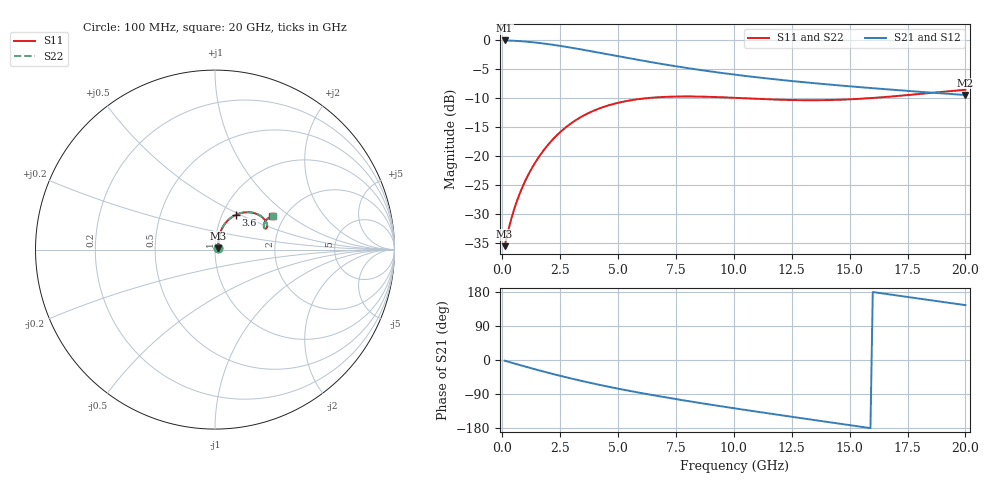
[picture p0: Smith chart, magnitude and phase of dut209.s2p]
! Touchstone file exported from HFSS 2024.1.0
!  File:  C:/UserFiles/LocalFiles/RDL_TSV_Batchsim/temp_RDL_TSV_209_1779446007.aedt
!  Generated:  06:54:19 PM May 22, 2026
!  Design:  RDL_TSV
!  Project:  temp_RDL_TSV_209_1779446007
!  Setup:  Setup1
!  Solution:  Sweep
! Variables:
!  dtsv = 6.86um
!  hbump = 3um
!  htsv = 79.52um
!  ldown = 319.67um
!  lrdl = 536.19um
!  p = 40
!  p1 = 50.9um
!  rhole = 10um
!  subl = 3103.77um
!  t = 450um
!  tdown = 3.28um
!  trdl = 4.96um
!  viad = 10um
!  wdown = 22.97um
!  wrdl = 16.33um
!  xbump = 18um
# GHz S MA R 50.000000
! Terminal data exported
! Port[1] = TM1_1_T1
! Port[2] = TM1_4_T1
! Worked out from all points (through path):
!   200 points, 100 MHz to 20 GHz, reference 50 ohm
!   highest |S21| = -0.14 dB at 100 MHz (marker M1); lowest = -9.5 dB at 20 GHz (marker M2)
!   group delay of S21, straight-line fit = 28.2 ps
!   lowest |S11| = -35.6 dB at 100 MHz (marker M3), VSWR 1.03, Z = 51.6 + j0.648 ohm
!   |S11| at or under -10 dB: start of sweep to 6.493 GHz; 9.89 GHz to 16.18 GHz (6.294 GHz wide, 48.3 % of centre)
!   |S22| runs from -35.6 to -8.6 dB; largest |S21 - S12| = 4.2e-14
!   S11 on the Smith chart (normalised r, x): 100 MHz: 1.03, +0.01; 3.6 GHz: 1.16, +0.47; 20 GHz: 1.74, +0.75
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0.1  0.01657 22.3  0.9845 -1.8  0.9845 -1.8  0.01657 22.3
! Gamma 0 0 0 0
! Port Impedance 50 0 50 0
0.4  0.02902 53.7  0.9801 -7.1  0.9801 -7.1  0.02902 53.7
0.7  0.04418 64.9  0.9731 -12.4  0.9731 -12.4  0.04418 64.9
1  0.06108 70.1  0.9633 -17.5  0.9633 -17.5  0.06108 70.1
1.4  0.08578 72.6  0.9464 -24.3  0.9464 -24.3  0.08579 72.6
1.8  0.1122 72.3  0.9258 -30.8  0.9258 -30.8  0.1122 72.4
2.3  0.146 69.8  0.8964 -38.7  0.8964 -38.7  0.1461 69.9
2.9  0.1854 65.2  0.8577 -47.7  0.8577 -47.7  0.1855 65.2
3.5  0.2209 59.8  0.8176 -56.2  0.8176 -56.2  0.2211 59.9
3.6  0.2264 58.9  0.8109 -57.6  0.8109 -57.6  0.2265 58.9
4.3  0.2599 52.5  0.7645 -66.9  0.7645 -66.9  0.2601 52.6
5  0.2854 46.6  0.7202 -75.6  0.7202 -75.6  0.2856 46.7
5.9  0.3074 39.9  0.668 -86.1  0.668 -86.1  0.3077 40.0
6.8  0.3193 34.3  0.6216 -95.9  0.6216 -95.9  0.3196 34.4
8.4  0.3233 27.1  0.5533 -112.1  0.5533 -112.1  0.3236 27.2
10.1  0.3149 23.2  0.4976 -128.2  0.4976 -128.2  0.3152 23.3
11.7  0.305 22.5  0.457 -142.7  0.457 -142.7  0.3052 22.7
13.4  0.3004 24.3  0.4227 -157.8  0.4227 -157.8  0.3007 24.4
15  0.3058 26.9  0.3961 -171.9  0.3961 -171.9  0.3062 27.1
16.7  0.3222 29.4  0.372 173.3  0.372 173.3  0.3227 29.6
18.4  0.3458 30.4  0.3508 158.5  0.3508 158.5  0.3466 30.7
20  0.3699 30.0  0.333 144.8  0.333 144.8  0.371 30.3
